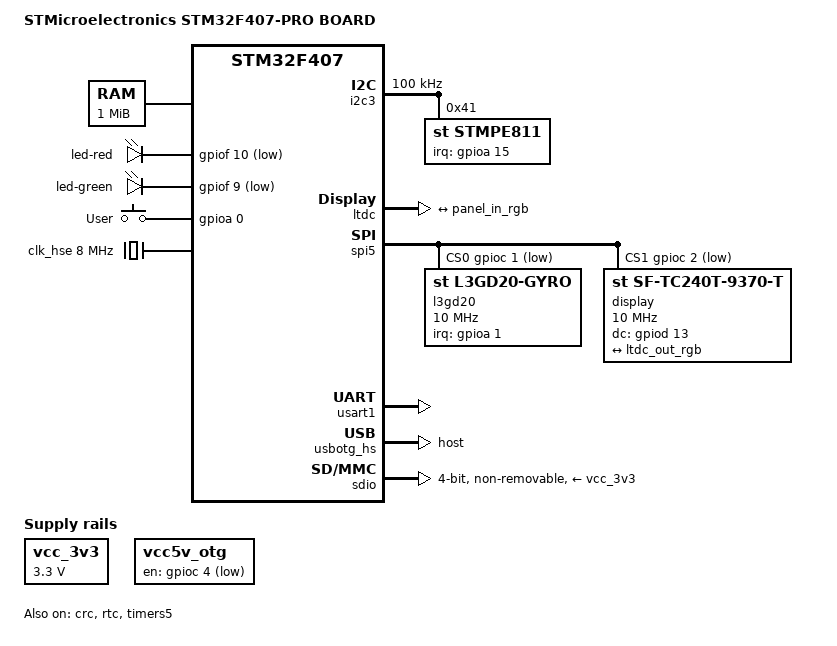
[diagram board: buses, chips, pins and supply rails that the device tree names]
// SPDX-License-Identifier: GPL-2.0+ OR X11
/*
* Copyright 2015 - Maxime Coquelin <mcoquelin.stm32@gmail.com>
*/

/dts-v1/;
#include "stm32f407.dtsi"
#include "stm32f407-pinctrl.dtsi"
#include <dt-bindings/input/input.h>
#include <dt-bindings/interrupt-controller/irq.h>
#include <dt-bindings/gpio/gpio.h>

/ {
	model = "STMicroelectronics STM32F407-PRO BOARD";
	compatible = "st,stm32f407-pro", "st,stm32f407";
	
	chosen {
		bootargs = "root=/dev/ram";
		stdout-path = "serial0:115200n8";
	};
	
	memory@68000000 {
		device_type = "memory";
		reg = <0x68000000 0x100000>;
	};
	
	aliases {
		serial0 = &usart1;
		mmc0 = &sdio;
	};
	
	leds {
		compatible = "gpio-leds";
		led-red {
			gpios = <&gpiof 10 1>;
		};
		led-green {
			gpios = <&gpiof 9 1>;
			linux,default-trigger = "heartbeat";
		};
	};
	
	gpio-keys {
		compatible = "gpio-keys";
		autorepeat;
		button-0 {
			label = "User";
			linux,code = <KEY_HOME>;
			gpios = <&gpioa 0 0>;
		};
	};
	
	vcc_3v3: vcc-3v3 {
		compatible = "regulator-fixed";
		regulator-name = "vcc_3v3";
		regulator-min-microvolt = <3300000>;
		regulator-max-microvolt = <3300000>;
	};
	
	/* This turns on vbus for otg for host mode (dwc2) */
	vcc5v_otg: vcc5v-otg-regulator {
		compatible = "regulator-fixed";
		gpio = <&gpioc 4 0>;
		regulator-name = "vcc5_host1";
		regulator-always-on;
	};
};

&clk_hse {
	clock-frequency = <8000000>;
};

&crc {
	status = "okay";
};

&i2c3 {
	pinctrl-names = "default";
	pinctrl-0 = <&i2c3_pins>;
	clock-frequency = <100000>;
	status = "okay";
	
	stmpe811@41 {
		compatible = "st,stmpe811";
		reg = <0x41>;
		interrupts = <15 IRQ_TYPE_EDGE_FALLING>;
		interrupt-parent = <&gpioa>;
		/* 3.25 MHz ADC clock speed */
		st,adc-freq = <1>;
		/* 12-bit ADC */
		st,mod-12b = <1>;
		/* internal ADC reference */
		st,ref-sel = <0>;
		/* ADC converstion time: 80 clocks */
		st,sample-time = <4>;
		
		stmpe_touchscreen {
			compatible = "st,stmpe-ts";
			/* 8 sample average control */
			st,ave-ctrl = <3>;
			/* 7 length fractional part in z */
			st,fraction-z = <7>;
			/*
			* 50 mA typical 80 mA max touchscreen drivers
			* current limit value
			*/
			st,i-drive = <1>;
			/* 1 ms panel driver settling time */
			st,settling = <3>;
			/* 5 ms touch detect interrupt delay */
			st,touch-det-delay = <5>;
		};
		
		stmpe_adc {
			compatible = "st,stmpe-adc";
			/* forbid to use ADC channels 3-0 (touch) */
			st,norequest-mask = <0x0F>;
		};
	};
};

&ltdc {
	status = "okay";
	pinctrl-0 = <&ltdc_pins_b>;
	pinctrl-names = "default";
	
	port {
		ltdc_out_rgb: endpoint {
			remote-endpoint = <&panel_in_rgb>;
		};
	};
};

&rtc {
	assigned-clocks = <&rcc 1 CLK_RTC>;
	assigned-clock-parents = <&rcc 1 CLK_LSI>;
	status = "okay";
};

&spi5 {
	status = "okay";
	pinctrl-0 = <&spi5_pins>;
	pinctrl-names = "default";
	#address-cells = <1>;
	#size-cells = <0>;
	cs-gpios = <&gpioc 1 GPIO_ACTIVE_LOW>, <&gpioc 2 GPIO_ACTIVE_LOW>;
	
	l3gd20: l3gd20@0 {
		compatible = "st,l3gd20-gyro";
		spi-max-frequency = <10000000>;
		st,drdy-int-pin = <2>;
		interrupt-parent = <&gpioa>;
		interrupts = <1 IRQ_TYPE_EDGE_RISING>,
		<2 IRQ_TYPE_EDGE_RISING>;
		reg = <0>;
		status = "okay";
	};
	
	display: display@1{
		/* Connect panel-ilitek-9341 to ltdc */
		compatible = "st,sf-tc240t-9370-t", "ilitek,ili9341";
		reg = <1>;
		spi-3wire;
		spi-max-frequency = <10000000>;
		dc-gpios = <&gpiod 13 0>;
		port {
			panel_in_rgb: endpoint {
				remote-endpoint = <&ltdc_out_rgb>;
			};
		};
	};
};

&timers5 {
	/* Override timer5 to act as clockevent */
	compatible = "st,stm32-timer";
	interrupts = <50>;
	status = "okay";
	/delete-property/#address-cells;
	/delete-property/#size-cells;
	/delete-property/clock-names;
	/delete-node/pwm;
	/delete-node/timer@4;
};

&usart1 {
	pinctrl-0 = <&usart1_pins_a>;
	pinctrl-names = "default";
	status = "okay";
};

&usbotg_hs {
	compatible = "st,stm32f4x9-fsotg";
	dr_mode = "host";
	pinctrl-0 = <&usbotg_fs_pins_b>;
	pinctrl-names = "default";
	status = "okay";
};

&sdio {
	status = "okay";
	vmmc-supply = <&vcc_3v3>;
	pinctrl-names = "default", "opendrain";
	pinctrl-0 = <&sdio_pins>;
	pinctrl-1 = <&sdio_pins_od>;
	bus-width = <4>;

	non-removable;
};
